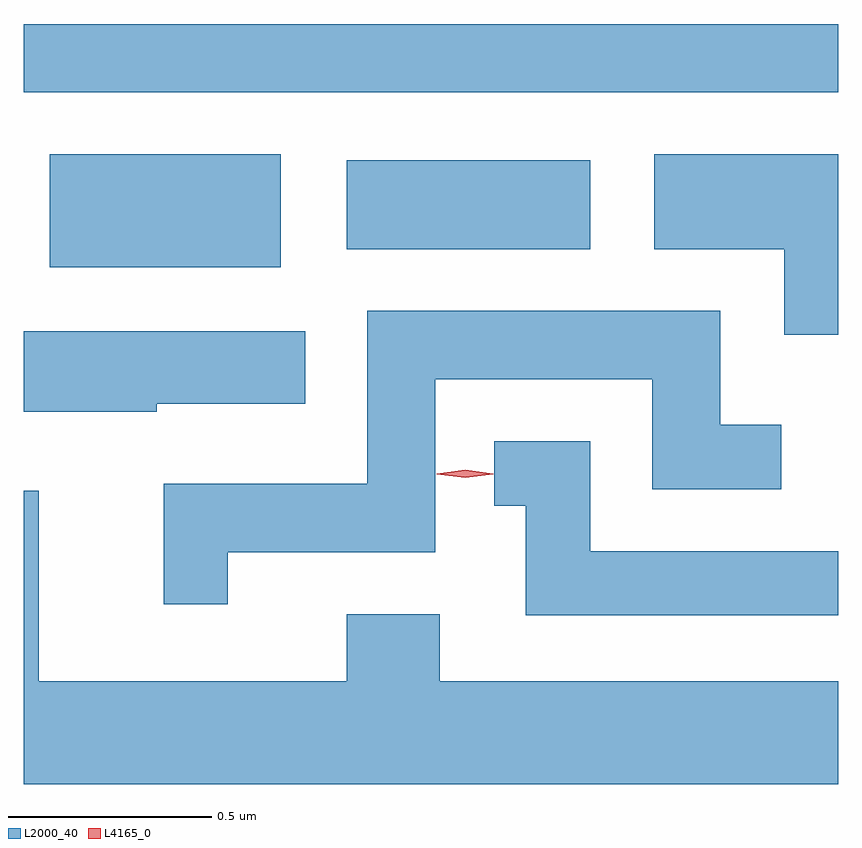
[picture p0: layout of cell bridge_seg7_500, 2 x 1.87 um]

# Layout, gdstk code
import gdstk
lib = gdstk.Library(unit=1e-6, precision=1e-09)
def R(c, l, rs):  # rectangles x0, y0, x1, y1
    for r in rs: c.add(gdstk.rectangle(r[:2], r[2:], *l))
def P(c, l, *ps):  # polygons
    for p in ps: c.add(gdstk.Polygon(p, *l))
L2000_40 = (2000, 40)
L4165_0 = (4165, 0)

bridge_seg7_500 = lib.new_cell('bridge_seg7_500')
R(bridge_seg7_500, L2000_40, [(1450.691,1706.721,1451.259,1706.999), (1451.421,1706.766,1452.019,1706.984), (1450.628,1707.151,1452.628,1707.319)])
P(bridge_seg7_500, L2000_40, [(1452.628,1706.999),(1452.176,1706.999),(1452.176,1706.766),(1452.496,1706.766),(1452.496,1706.556),(1452.628,1706.556)],
  [(1451.129,1706.021),(1451.639,1706.021),(1451.639,1706.446),(1452.171,1706.446),(1452.171,1706.176),(1452.488,1706.176),(1452.488,1706.334),(1452.339,1706.334),(1452.339,1706.614),(1451.471,1706.614),(1451.471,1706.189),(1450.971,1706.189),(1450.971,1705.893),(1451.129,1705.893)],
  [(1450.954,1706.386),(1451.319,1706.386),(1451.319,1706.564),(1450.628,1706.564),(1450.628,1706.366),(1450.954,1706.366)],
  [(1452.628,1706.024),(1452.019,1706.024),(1452.019,1706.294),(1451.783,1706.294),(1451.783,1706.136),(1451.861,1706.136),(1451.861,1705.866),(1452.628,1705.866)],
  [(1452.628,1705.704),(1451.649,1705.704),(1451.649,1705.869),(1451.421,1705.869),(1451.421,1705.704),(1450.664,1705.704),(1450.664,1706.173),(1450.628,1706.173),(1450.628,1705.452),(1452.628,1705.452)])
P(bridge_seg7_500, L4165_0, [(1451.712,1706.204),(1451.642,1706.213),(1451.642,1706.214),(1451.642,1706.214),(1451.712,1706.224),(1451.781,1706.214),(1451.781,1706.214),(1451.781,1706.213)])

lib.write_gds('bridge_seg7_500.gds')
